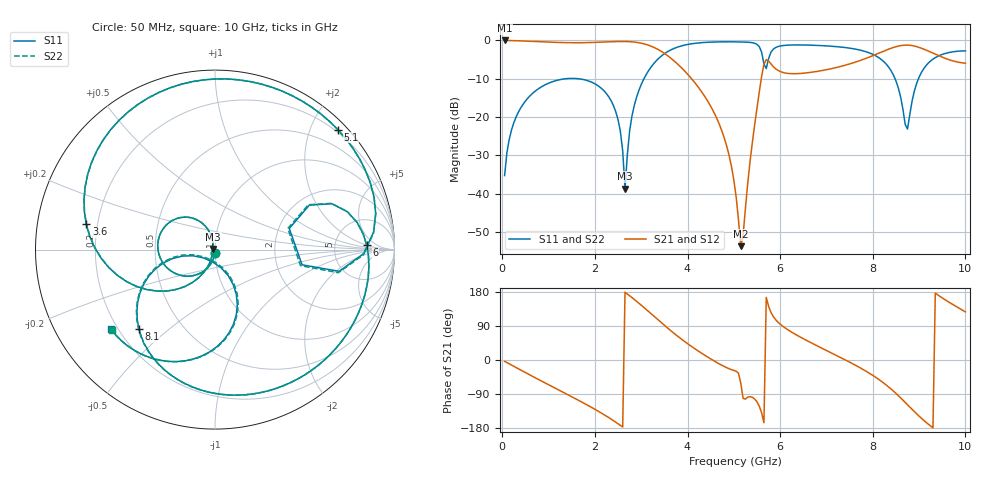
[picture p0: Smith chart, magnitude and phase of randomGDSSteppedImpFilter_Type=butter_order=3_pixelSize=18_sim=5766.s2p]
! freq	dB(S11)	phase(S11)	dB(S12)	phase(S12)
!  dB(S21)	phase(S21)	dB(S22)	phase(S22)
!S-par simulation data
#  GHz  S  DB  R 50
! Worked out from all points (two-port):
!   200 points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, 50 MHz to 10 GHz, reference 50 ohm
!   highest |S21| = -0.01 dB at 50 MHz (marker M1); lowest = -53.6 dB at 5.15 GHz (marker M2)
!   |S21| within 3 dB of the highest: start of sweep to 3.454 GHz; 8.192 GHz to 9.241 GHz (1.049 GHz wide, 12 % of centre)
!   lowest |S11| = -38.6 dB at 2.65 GHz (marker M3), VSWR 1.02, Z = 48.9 + j0.335 ohm
!   |S11| at or under -10 dB: start of sweep to 1.356 GHz; 1.657 GHz to 3.059 GHz (1.402 GHz wide, 59.5 % of centre); 8.481 GHz to 8.986 GHz (505.3 MHz wide, 5.79 % of centre)
!   |S22| runs from -38.6 to -0.4 dB; largest |S21 - S12| = 0
!   S11 on the Smith chart (normalised r, x): 50 MHz: 1.00, -0.03; 3.6 GHz: 0.16, +0.10; 5.1 GHz: 0.15, +2.45; 6 GHz: 12, +2; 8.1 GHz: 0.28, -0.40; 10 GHz: 0.17, -0.33
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0.05  -35.25 -93.1  -0.01 -3.4  -0.01 -3.4  -35.24 -93.1
0.5  -15.80 -123.6  -0.16 -33.2  -0.16 -33.2  -15.80 -123.6
1.75  -10.19 156.7  -0.59 -113.2  -0.59 -113.2  -10.19 156.6
2.4  -16.98 112.4  -0.32 -159.9  -0.32 -159.9  -16.98 112.3
2.55  -23.75 105.1  -0.27 -172.4  -0.27 -172.4  -23.75 105.0
2.65  -38.61 163.0  -0.28 178.7  -0.28 178.7  -38.64 162.9
2.85  -16.96 -116.1  -0.42 159.9  -0.42 159.9  -16.96 -116.2
3.4  -4.43 -170.5  -2.61 102.1  -2.61 102.1  -4.43 -170.6
3.6  -2.72 168.9  -4.25 81.2  -4.25 81.2  -2.72 168.7
4.6  -0.40 82.1  -19.51 -4.3  -19.51 -4.3  -0.40 82.0
5.05  -0.37 48.2  -40.80 -29.6  -40.80 -29.6  -0.38 47.9
5.1  -0.38 44.3  -46.77 -34.6  -46.77 -34.6  -0.38 44.1
5.15  -0.40 40.4  -53.64 -61.6  -53.64 -61.6  -0.40 40.2
5.5  -1.02 6.3  -17.60 -110.5  -17.60 -110.5  -1.04 5.9
5.65  -6.16 -9.9  -6.23 -165.5  -6.23 -165.5  -6.29 -10.6
6  -1.46 1.7  -8.09 94.6  -8.09 94.6  -1.46 1.7
6.7  -1.25 -45.3  -8.26 43.5  -8.26 43.5  -1.25 -45.5
8.1  -4.26 -133.8  -3.47 -48.7  -3.47 -48.7  -4.27 -134.3
8.35  -7.08 -154.0  -2.24 -71.9  -2.24 -71.9  -7.09 -154.7
8.75  -23.11 -100.7  -1.23 -118.0  -1.23 -118.0  -23.84 -99.2
9.1  -7.38 -76.1  -2.27 -159.2  -2.27 -159.2  -7.39 -75.3
10  -2.74 -142.4  -5.93 127.0  -5.93 127.0  -2.73 -142.0
